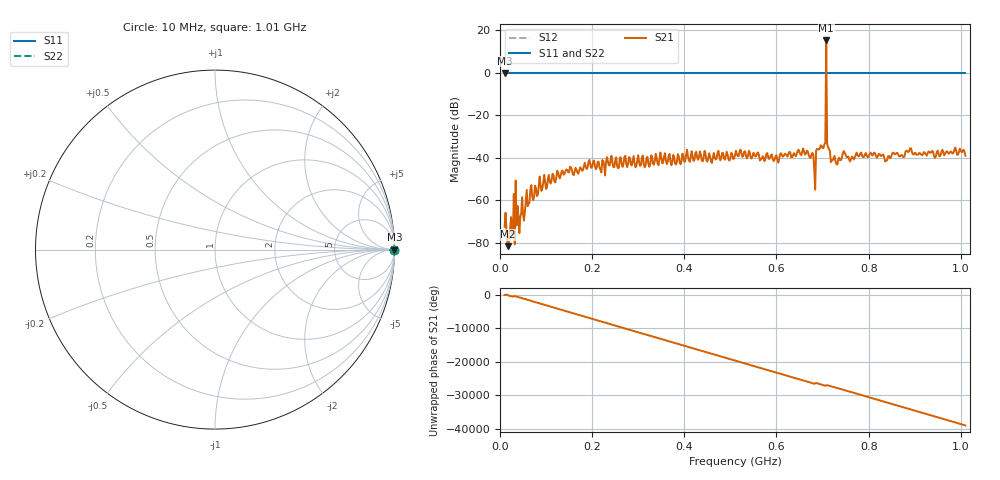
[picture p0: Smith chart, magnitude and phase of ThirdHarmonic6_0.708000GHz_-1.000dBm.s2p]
! 8/15/2025 11:40:17 PM
! C:\ANRITSUVNA\TEMP\TEMP.S2P
! CHANNEL.1
! TR.MEASUREMENT
! RAW.DATA
! RF.CORRECTION.OFF
! AVERAGING.OFF
! IF.BANDWIDTH: 5KHZ
! SWEEPTYPE:  FREQ.SWEEP(Linear)
! Reference Plane Port Info
! PORT:  PORT1  PORT2
! DISTANCE:  0  m  0  m
! TIME:  0  s  0  s
! PHASE.OFFSET:  0  deg.  0  deg.
! LOSS:  0  dB  0  dB
! REF.LOSS:  0  dB  0  dB
! REF.FREQ:  0  Hz  0  Hz
! Power Info
! POWER:  -20  dBm  -20  dBm
! EFF.POWER:  -20  dBm  -20  dBm
! SOURCE.ATTEN:  0  dB  0  dB
! TEST.ATTEN:  0  dB  0  dB
# GHZ S RI R 50.0
! FREQ.GHZ  S11RE  S11IM  S21RE  S21IM  S12RE  S12IM  S22RE  S22IM
!; PortSelection: Port_12
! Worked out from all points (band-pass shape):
!   501 points, 10 MHz to 1.01 GHz, reference 50 ohm
!   highest |S21| = 15.27 dB at 708 MHz (marker M1); lowest = -81.6 dB at 18 MHz (marker M2)
!   |S21| within 3 dB of the highest: 707.8755 MHz to 708.1233 MHz (247.8 kHz wide, 0.035 % of centre)
!   lowest |S11| = 0.0 dB at 10 MHz (marker M3)
!   |S11| at or under -10 dB: nowhere
!   |S22| runs from 0.0 to 0.0 dB; largest |S21 - S12| = 5.6
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0.01  1 0  0.000177 -0.000159  1 0  1 0
0.018  1 0  -7.76e-05 2.95e-05  1 0  1 0
0.034  1 0  -0.0028 -0.000814  1 0  1 0
0.04  1 0  0.000409 0.000104  1 0  1 0
0.09  1 0  -0.00137 0.000942  1 0  1 0
0.178  1 0  -0.00494 -0.000311  1 0  1 0
0.344  1 0  0.00622 -0.00254  1 0  1 0
0.51  1 0  -0.00978 0.00614  1 0  1 0
0.662  1 0  -0.00902 0.00783  1 0  1 0
0.678  1 0  -0.00982 -0.00871  1 0  1 0
0.684  1 0  -0.00174 0.000403  1 0  1 0
0.69  1 0  -0.00208 0.0159  1 0  1 0
0.702  1 0  0.0149 -0.00811  1 0  1 0
0.704  1 0  -0.00712 -0.0196  1 0  1 0
0.708  1 0  1.567 -5.583  1 0  1 0
0.712  1 0  -0.00545 -0.0168  1 0  1 0
0.714  1 0  -0.0158 0.00357  1 0  1 0
0.732  1 0  -0.00675 -0.00162  1 0  1 0
0.748  1 0  -0.00187 -0.0129  1 0  1 0
0.844  1 0  0.0104 0.00376  1 0  1 0
0.888  1 0  0.00814 0.0119  1 0  1 0
1.01  1 0  -0.0107 0.00326  1 0  1 0
